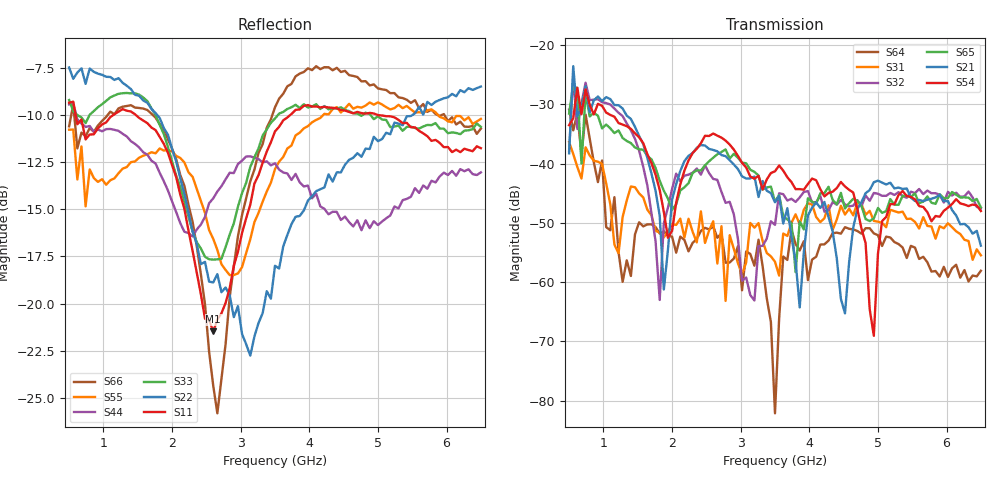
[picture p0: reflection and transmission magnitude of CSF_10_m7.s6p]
!Keysight Technologies,M9804A,MY58100912,A.14.10.03
!Date: Thursday, April 27, 2023 10:28:33
!Correction: S11(C  6-Port  )
!S12(C  6-Port  )
!S13(C  6-Port  )
!S14(C  6-Port  )
!S15(C  6-Port  )
!S16(C  6-Port  )
!S21(C  6-Port  )
!S22(C  6-Port  )
!S23(C  6-Port  )
!S24(C  6-Port  )
!S25(C  6-Port  )
!S26(C  6-Port  )
!S31(C  6-Port  )
!S32(C  6-Port  )
!S33(C  6-Port  )
!S34(C  6-Port  )
!S35(C  6-Port  )
!S36(C  6-Port  )
!S41(C  6-Port  )
!S42(C  6-Port  )
!S43(C  6-Port  )
!S44(C  6-Port  )
!S45(C  6-Port  )
!S46(C  6-Port  )
!S51(C  6-Port  )
!S52(C  6-Port  )
!S53(C  6-Port  )
!S54(C  6-Port  )
!S55(C  6-Port  )
!S56(C  6-Port  )
!S61(C  6-Port  )
!S62(C  6-Port  )
!S63(C  6-Port  )
!S64(C  6-Port  )
!S65(C  6-Port  )
!S66(C  6-Port  )
!S6P File: Measurement: :
# Hz S  RI  R 50
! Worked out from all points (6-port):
!   101 points, 500 MHz to 6.5 GHz, reference 50 ohm
!   strongest paths, dB at 500 MHz, 2 GHz, 3.5 GHz, 5 GHz, 6.5 GHz:
!     S54: -33.5, -51.3, -41.3, -55.2, -48.0
!     S21: -38.3, -46.1, -46.5, -42.9, -53.8
!     S65: -31.5, -47.8, -46.4, -47.5, -47.4
!     S32: -37.9, -44.3, -50.3, -45.1, -47.5
!     S31: -36.4, -50.2, -56.6, -49.8, -55.5
!     S64: -30.9, -52.3, -82.1, -52.1, -58.1
!   lowest |S11| = -21.5 dB at 2.6 GHz (marker M1), VSWR 1.18, Z = 42.5 + j2.35 ohm
!   |S11| at or under -10 dB: 594.7 MHz to 1.149 GHz (554.2 MHz wide, 63.6 % of centre); 1.467 GHz to 3.727 GHz (2.259 GHz wide, 87 % of centre); 4.986 GHz to end of sweep
